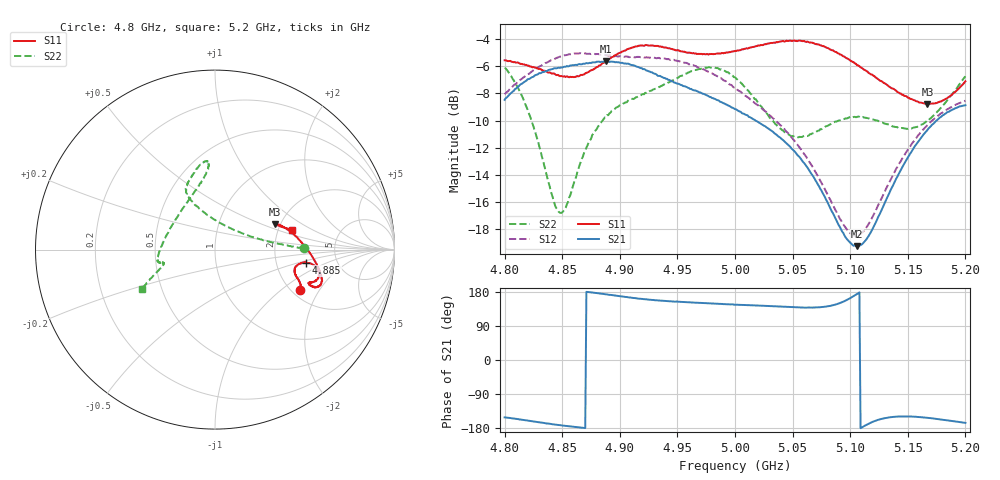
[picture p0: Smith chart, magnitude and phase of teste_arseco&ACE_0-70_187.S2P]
! Network Analyzer HP8722D
! Hewlett-Packard
! Data name: Linha & Wilkinson
! Saver's name: Rodrigo Anjos
! Comments: Teste da utilização de aquisição
! continua pelo VNA HP8722D
! Time and date: 8/5/2025 14:19
!  Frequency  S11  S21  S12  S22
# HZ  S  MA R 50
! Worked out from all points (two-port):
!   401 points, 4.8 GHz to 5.2 GHz, reference 50 ohm
!   highest |S21| = -5.64 dB at 4.888 GHz (marker M1); lowest = -19.2 dB at 5.106 GHz (marker M2)
!   |S21| within 3 dB of the highest: start of sweep to 4.988 GHz
!   lowest |S11| = -8.8 dB at 5.167 GHz (marker M3), VSWR 2.14, Z = 93.9 + j30.7 ohm
!   |S11| at or under -10 dB: nowhere
!   |S22| runs from -16.8 to -6.1 dB; largest |S21 - S12| = 1.1
!   S11 on the Smith chart (normalised r, x): 4.8 GHz: 2.23, -1.38; 4.885 GHz: 2.98, -0.60; 5.2 GHz: 2.36, +0.65
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4.8e9  0.5265 -25.2  0.3767 -151.4  0.3952 7.9  0.4937 0.8
4.82e9  0.5031 -20.6  0.4486 -159.6  0.4676 5.2  0.3463 5.8
4.842e9  0.4708 -17.4  0.4895 -169.6  0.5286 1.8  0.1635 38.2
4.847e9  0.4632 -16.0  0.4944 -171.6  0.5404 0.8  0.1459 57.0
4.853e9  0.4572 -14.9  0.4981 -173.9  0.5496 -0.2  0.1512 79.9
4.867e9  0.4649 -11.0  0.5088 -178.9  0.5573 -2.2  0.2285 108.7
4.885e9  0.5136 -8.3  0.5195 174.9  0.5515 -3.3  0.3164 116.0
4.888e9  0.5216 -8.3  0.5222 173.4  0.5497 -3.3  0.3244 116.7
4.912e9  0.5878 -11.6  0.5043 163.6  0.5409 -2.6  0.3791 114.8
4.934e9  0.5919 -16.5  0.4611 156.8  0.5374 -3.5  0.4195 109.0
4.976e9  0.5555 -19.6  0.3904 149.5  0.4791 -7.0  0.4953 96.2
5e9  0.5693 -20.6  0.3482 146.0  0.4187 -6.7  0.4561 95.0
5.043e9  0.6164 -18.7  0.2647 140.2  0.2938 1.1  0.2868 130.8
5.067e9  0.6108 -14.0  0.1996 138.4  0.2149 8.7  0.2835 165.0
5.095e9  0.5428 -4.0  0.1196 155.3  0.1295 35.4  0.3202 -172.5
5.106e9  0.5052 1.3  0.1092 174.3  0.1195 56.8  0.326 -169.2
5.116e9  0.4731 6.4  0.119 -168.2  0.1318 75.7  0.3221 -167.3
5.134e9  0.4209 15.3  0.1713 -151.4  0.1875 94.3  0.3054 -166.4
5.151e9  0.3831 21.0  0.2346 -149.0  0.2512 99.3  0.2959 -164.5
5.167e9  0.3639 22.9  0.2917 -152.5  0.3041 100.2  0.317 -161.5
5.183e9  0.3797 20.4  0.3358 -158.7  0.3454 100.0  0.3696 -157.2
5.2e9  0.4405 14.5  0.3598 -165.9  0.3741 100.7  0.4595 -151.7
